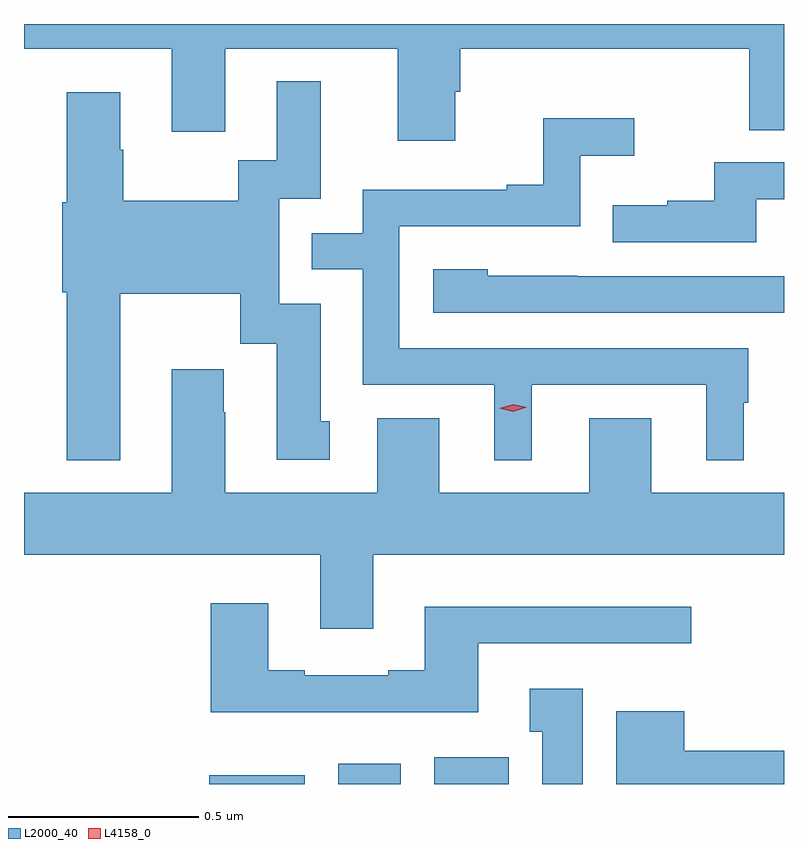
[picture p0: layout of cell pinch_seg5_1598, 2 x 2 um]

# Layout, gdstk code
import gdstk
lib = gdstk.Library(unit=1e-6, precision=1e-09)
def R(c, l, rs):  # rectangles x0, y0, x1, y1
    for r in rs: c.add(gdstk.rectangle(r[:2], r[2:], *l))
def P(c, l, *ps):  # polygons
    for p in ps: c.add(gdstk.Polygon(p, *l))
L2000_40 = (2000, 40)
L4158_0 = (4158, 0)

pinch_seg5_1598 = lib.new_cell('pinch_seg5_1598')
R(pinch_seg5_1598, L2000_40, [(349.622,868.145,349.873,868.168), (349.961,868.145,350.125,868.198), (350.213,868.145,350.41,868.216)])
P(pinch_seg5_1598, L2000_40, [(350.269,869.967),(350.282,869.967),(350.282,870.08),(351.042,870.08),(351.042,869.866),(351.134,869.866),(351.134,870.145),(349.134,870.145),(349.134,870.08),(349.523,870.08),(349.523,869.862),(349.663,869.862),(349.663,870.08),(350.117,870.08),(350.117,869.838),(350.269,869.838)],
  [(349.387,869.435),(349.703,869.435),(349.703,869.304),(349.799,869.304),(349.799,868.998),(349.939,868.998),(349.939,869.1),(349.915,869.1),(349.915,869.409),(349.806,869.409),(349.806,869.685),(349.915,869.685),(349.915,869.995),(349.799,869.995),(349.799,869.786),(349.698,869.786),(349.698,869.68),(349.395,869.68),(349.395,869.814),(349.387,869.814),(349.387,869.965),(349.247,869.965),(349.247,869.676),(349.235,869.676),(349.235,869.439),(349.247,869.439),(349.247,868.997),(349.387,868.997)],
  [(350.47,869.196),(350.93,869.196),(350.93,868.997),(351.028,868.997),(351.028,869.148),(351.04,869.148),(351.04,869.292),(350.121,869.292),(350.121,869.613),(350.598,869.613),(350.598,869.798),(350.74,869.798),(350.74,869.897),(350.5,869.897),(350.5,869.722),(350.405,869.722),(350.405,869.709),(350.025,869.709),(350.025,869.595),(349.891,869.595),(349.891,869.499),(350.025,869.499),(350.025,869.196),(350.372,869.196),(350.372,868.997),(350.47,868.997)],
  [(351.061,869.684),(351.134,869.684),(351.134,869.781),(350.951,869.781),(350.951,869.68),(350.827,869.68),(350.827,869.668),(350.683,869.668),(350.683,869.571),(351.061,869.571)],
  [(351.134,869.481),(350.591,869.481),(350.591,869.482),(350.355,869.482),(350.355,869.5),(350.211,869.5),(350.211,869.385),(351.134,869.385)],
  [(350.053,868.748),(351.134,868.748),(351.134,868.912),(350.785,868.912),(350.785,869.107),(350.621,869.107),(350.621,868.912),(350.227,868.912),(350.227,869.107),(350.063,869.107),(350.063,868.912),(349.663,868.912),(349.663,869.123),(349.66,869.123),(349.66,869.236),(349.523,869.236),(349.523,868.912),(349.134,868.912),(349.134,868.748),(349.913,868.748),(349.913,868.554),(350.053,868.554)],
  [(350.329,868.515),(350.89,868.515),(350.89,868.612),(350.189,868.612),(350.189,868.444),(350.093,868.444),(350.093,868.431),(349.873,868.431),(349.873,868.444),(349.777,868.444),(349.777,868.621),(349.625,868.621),(349.625,868.334),(350.329,868.334)],
  [(350.605,868.396),(350.465,868.396),(350.465,868.283),(350.498,868.283),(350.498,868.145),(350.605,868.145)],
  [(351.134,868.232),(350.872,868.232),(350.872,868.336),(350.693,868.336),(350.693,868.145),(351.134,868.145)])
P(pinch_seg5_1598, L4158_0, [(350.421,869.125),(350.385,869.134),(350.385,869.134),(350.385,869.134),(350.421,869.145),(350.457,869.137),(350.457,869.136),(350.457,869.136)])

lib.write_gds('pinch_seg5_1598.gds')
